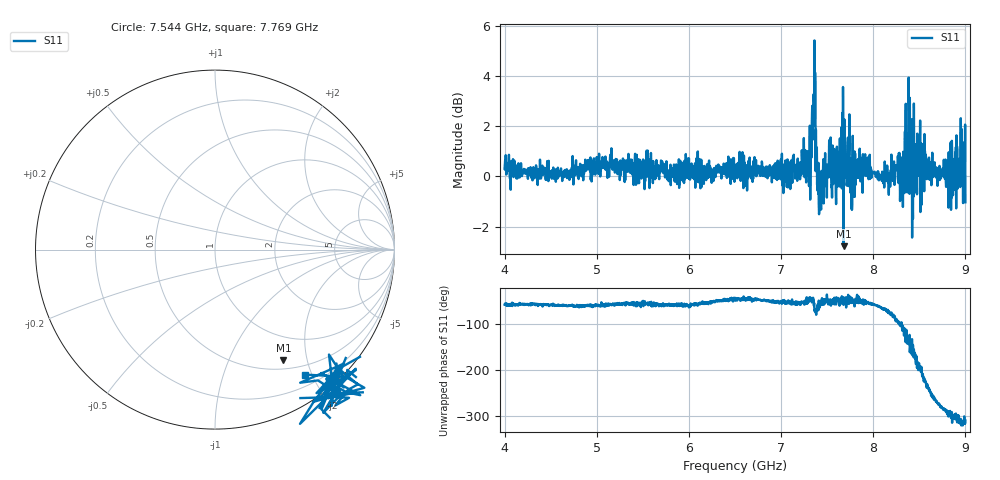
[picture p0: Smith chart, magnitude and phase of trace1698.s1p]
! Created with skrf 1.8.0 (http://scikit-rf.org).
# Hz S RI R 50.0
!freq ReS11 ImS11
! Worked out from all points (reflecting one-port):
!   1601 points, 4 GHz to 9 GHz, reference 50 ohm
!   lowest |S11| = -2.8 dB at 7.678 GHz (marker M1), VSWR 6.29, Z = 30.9 - j80.8 ohm
!   phase of S11 starts at -58 deg and turns -252 deg over the sweep
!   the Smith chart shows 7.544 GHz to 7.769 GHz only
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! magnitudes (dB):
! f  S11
! 4 GHz  0.3
! 4.625 GHz  -0.2
! 5.25 GHz  -0.1
! 5.875 GHz  -0.1
! 6.5 GHz  0.5
! 7.125 GHz  0.4
! 7.294 GHz  0.0
! 7.316 GHz  -0.9
! 7.347 GHz  2.3
! 7.369 GHz  4.1
! 7.4 GHz  -0.1
! 7.425 GHz  -0.6
! 7.512 GHz  0.4
! 7.591 GHz  0.7
! 7.65 GHz  1.0
! 7.678 GHz  -2.8
! 7.75 GHz  0.1
! 8.097 GHz  0.2
! 8.262 GHz  0.2
! 8.316 GHz  -0.1
! 8.334 GHz  0.2
! 8.375 GHz  -0.2
! 8.447 GHz  1.2
! 8.459 GHz  -0.6
! 8.519 GHz  0.5
! 8.869 GHz  0.0
! 8.972 GHz  0.4
! 9 GHz  -1.0
